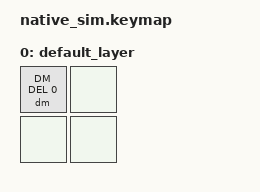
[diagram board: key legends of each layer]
#include <dt-bindings/zmk/keys.h>
#include <behaviors.dtsi>
#include <dt-bindings/zmk/kscan_mock.h>
#include <behaviors/dynamic_macro.dtsi>
#include <dt-bindings/zmk/dynamic_macros.h>

/*
 * Pending-timeout event coverage: entering a pending mode and letting it expire
 * raises PENDING_CANCELLED and drops to idle. Enters delete mode (DELETE_PROMPT)
 * and then waits past the 500ms assign/pending timeout without confirming a slot.
 *
 * PERSIST=n forces NVS_SLOTS=0. FEEDBACK_OFF so the only stream is the dm_event
 * notifications. The trailing &none press just keeps the sim running past the
 * timeout so the timer callback fires and is logged.
 *
 * Key layout (2 rows x 2 cols):
 *   (0,0)=DEL  (0,1)=none
 *   (1,0)=none (1,1)=none
 */

&kscan {
    rows = <2>;
    columns = <2>;
    exit-after;
    events = <
        /* DEL: enter delete mode, then wait out the 500ms timeout */
        ZMK_MOCK_PRESS(0,0,10)
        ZMK_MOCK_RELEASE(0,0,10)
        /* idle key well after the timeout, so the sim runs long enough to log it */
        ZMK_MOCK_PRESS(0,1,2000)
        ZMK_MOCK_RELEASE(0,1,10)
    >;
};

/ {
    keymap {
        compatible = "zmk,keymap";
        default_layer {
            bindings = <
                &dm DM_DEL 0 &none
                &none        &none
            >;
        };
    };
};
